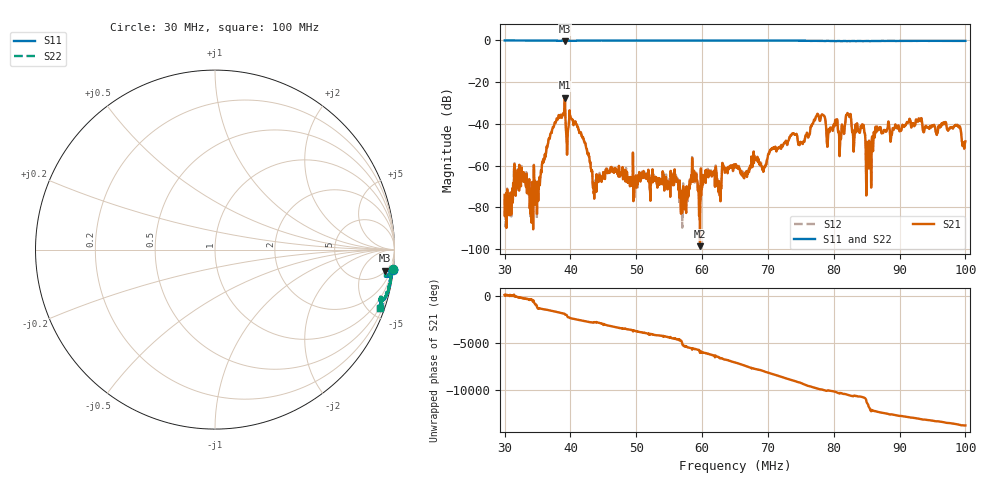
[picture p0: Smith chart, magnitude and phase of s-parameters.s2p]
!  23/08/2022  12:29:27 PM
! Ref Plane: 0.000 mm
# MHZ S MA R  50
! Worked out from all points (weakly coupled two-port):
!   2001 points, 30 MHz to 100 MHz, reference 50 ohm
!   highest |S21| = -27.47 dB at 39.13 MHz (marker M1); lowest = -98.5 dB at 59.68 MHz (marker M2)
!   lowest |S11| = -0.4 dB at 39.17 MHz (marker M3), VSWR 43.47, Z = 264 - j708 ohm
!   |S11| at or under -10 dB: nowhere
!   |S22| runs from -0.4 to 0.0 dB; largest |S21 - S12| = 0.00036
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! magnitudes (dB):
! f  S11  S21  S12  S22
! 30 MHz  0.0  -74.0  -76.0  0.0
! 32.59 MHz  0.0  -60.9  -60.2  0.0
! 34.9 MHz  0.0  -82.9  -85.2  0.0
! 37.28 MHz  -0.1  -42.2  -42.1  -0.1
! 39.13 MHz  -0.4  -27.5  -27.5  -0.4
! 39.17 MHz  -0.4  -28.2  -28.2  -0.4
! 41.69 MHz  -0.1  -45.7  -45.6  -0.1
! 43.72 MHz  -0.1  -68.6  -68.0  -0.1
! 53.34 MHz  -0.1  -66.6  -66.8  0.0
! 57.27 MHz  -0.1  -73.1  -72.1  -0.1
! 58.8 MHz  -0.1  -63.1  -62.5  -0.1
! 59.68 MHz  -0.1  -98.5  -81.6  -0.1
! 65 MHz  -0.1  -59.8  -59.9  -0.1
! 69.41 MHz  -0.1  -61.2  -61.2  -0.1
! 76.69 MHz  -0.2  -40.5  -40.5  -0.2
! 81 MHz  -0.3  -46.2  -46.1  -0.3
! 82.25 MHz  -0.3  -35.5  -35.5  -0.3
! 84.42 MHz  -0.4  -41.6  -41.7  -0.4
! 85.23 MHz  -0.3  -56.3  -56.7  -0.3
! 88.34 MHz  -0.3  -39.2  -39.2  -0.3
! 96.75 MHz  -0.2  -39.3  -39.4  -0.2
! 100 MHz  -0.2  -48.3  -48.3  -0.2
